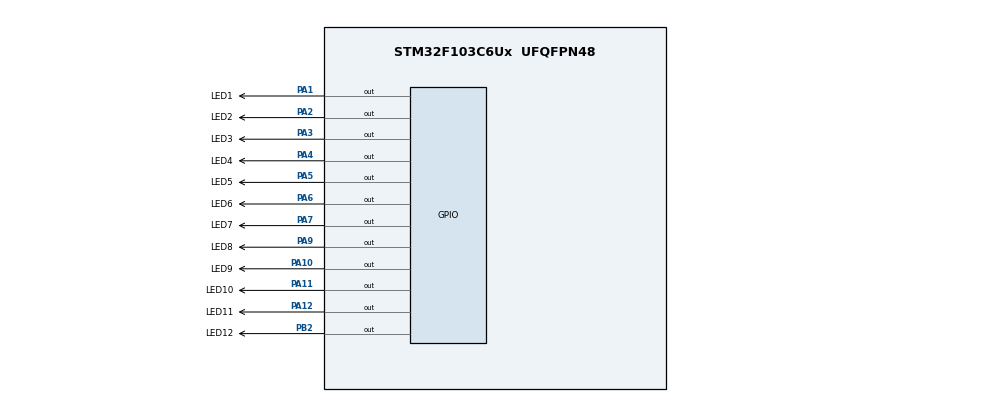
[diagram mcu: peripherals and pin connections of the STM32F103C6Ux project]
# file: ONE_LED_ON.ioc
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Mcu.Family=STM32F1
Mcu.Name=STM32F103C6Ux
Mcu.Package=UFQFPN48
NVIC.PriorityGroup=NVIC_PRIORITYGROUP_4
PA1.GPIO_Label=LED1
PA1.Signal=GPIO_Output
PA10.GPIO_Label=LED9
PA10.Signal=GPIO_Output
PA11.GPIO_Label=LED10
PA11.Signal=GPIO_Output
PA12.GPIO_Label=LED11
PA12.Signal=GPIO_Output
PA2.GPIO_Label=LED2
PA2.Signal=GPIO_Output
PA3.GPIO_Label=LED3
PA3.Signal=GPIO_Output
PA4.GPIO_Label=LED4
PA4.Signal=GPIO_Output
PA5.GPIO_Label=LED5
PA5.Signal=GPIO_Output
PA6.GPIO_Label=LED6
PA6.Signal=GPIO_Output
PA7.GPIO_Label=LED7
PA7.Signal=GPIO_Output
PA9.GPIO_Label=LED8
PA9.Signal=GPIO_Output
PB2.GPIO_Label=LED12
PB2.Signal=GPIO_Output
ProjectManager.HeapSize=0x200
ProjectManager.StackSize=0x400
ProjectManager.TargetToolchain=STM32CubeIDE
RCC.APB1Freq_Value=8000000
RCC.APB2Freq_Value=8000000
VP_SYS_VS_ND.Mode=No_Debug
board=custom

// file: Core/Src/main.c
/* USER CODE BEGIN Header */
/**
  ******************************************************************************
  * @file           : main.c
  * @brief          : Main program body
  ******************************************************************************
  * @attention
  *
  * <h2><center>&copy; Copyright (c) 2022 STMicroelectronics.
  * All rights reserved.</center></h2>
  *
  * This software component is licensed by ST under BSD 3-Clause license,
  * the "License"; You may not use this file except in compliance with the
  * License. You may obtain a copy of the License at:
  *                        opensource.org/licenses/BSD-3-Clause
  *
  ******************************************************************************
  */
/* USER CODE END Header */
#include "main.h"

void SystemClock_Config(void);
static void MX_GPIO_Init(void);

int main(void)
{

  /* MCU Configuration--------------------------------------------------------*/

  /* Reset of all peripherals, Initializes the Flash interface and the Systick. */
  HAL_Init();

  /* Configure the system clock */
  SystemClock_Config();

  /* Initialize all configured peripherals */
  MX_GPIO_Init();

  /* Infinite loop */
  /* USER CODE BEGIN WHILE */
  void setNumberOnClock(int num){
	  if(num == 0){
		  HAL_GPIO_WritePin(LED1_GPIO_Port, LED1_Pin, SET);
	  }
	  else if(num == 1){
		  HAL_GPIO_WritePin(LED2_GPIO_Port, LED2_Pin, SET);
	  }
	  else if(num == 2){
		  HAL_GPIO_WritePin(LED3_GPIO_Port, LED3_Pin, SET);
	  }
	  else if(num == 3){
		  HAL_GPIO_WritePin(LED4_GPIO_Port, LED4_Pin, SET);
	  }
	  else if(num == 4){
		  HAL_GPIO_WritePin(LED5_GPIO_Port, LED5_Pin, SET);
	  }
	  else if(num == 5){
		  HAL_GPIO_WritePin(LED6_GPIO_Port, LED6_Pin, SET);
	  }
	  else if(num == 6){
		  HAL_GPIO_WritePin(LED7_GPIO_Port, LED7_Pin, SET);
	  }
	  else if(num == 7){
		  HAL_GPIO_WritePin(LED8_GPIO_Port, LED8_Pin, SET);
	  }
	  else if(num == 8){
		  HAL_GPIO_WritePin(LED9_GPIO_Port, LED9_Pin, SET);
	  }
	  else if(num == 9){
		  HAL_GPIO_WritePin(LED10_GPIO_Port, LED10_Pin, SET);
	  }
	  else if(num == 10){
		  HAL_GPIO_WritePin(LED11_GPIO_Port, LED11_Pin, SET);
	  }
	  else if(num == 11){
		  HAL_GPIO_WritePin(LED12_GPIO_Port, LED12_Pin, SET);
	  }
  }
  int counter = 0;
  while (1)
  {
	  if( counter > 12) counter = 1;
	 	 setNumberOnClock(counter++);
	 	 HAL_Delay (1000) ;
    /* USER CODE END WHILE */

  }
}

void SystemClock_Config(void)
{
  RCC_OscInitTypeDef RCC_OscInitStruct = {0};
  RCC_ClkInitTypeDef RCC_ClkInitStruct = {0};

  /** Initializes the RCC Oscillators according to the specified parameters
  * in the RCC_OscInitTypeDef structure.
  */
  RCC_OscInitStruct.OscillatorType = RCC_OSCILLATORTYPE_HSI;
  RCC_OscInitStruct.HSIState = RCC_HSI_ON;
  RCC_OscInitStruct.HSICalibrationValue = RCC_HSICALIBRATION_DEFAULT;
  RCC_OscInitStruct.PLL.PLLState = RCC_PLL_NONE;
  if (HAL_RCC_OscConfig(&RCC_OscInitStruct) != HAL_OK)
  {
    Error_Handler();
  }
  /** Initializes the CPU, AHB and APB buses clocks
  */
  RCC_ClkInitStruct.ClockType = RCC_CLOCKTYPE_HCLK|RCC_CLOCKTYPE_SYSCLK
                              |RCC_CLOCKTYPE_PCLK1|RCC_CLOCKTYPE_PCLK2;
  RCC_ClkInitStruct.SYSCLKSource = RCC_SYSCLKSOURCE_HSI;
  RCC_ClkInitStruct.AHBCLKDivider = RCC_SYSCLK_DIV1;
  RCC_ClkInitStruct.APB1CLKDivider = RCC_HCLK_DIV1;
  RCC_ClkInitStruct.APB2CLKDivider = RCC_HCLK_DIV1;

  if (HAL_RCC_ClockConfig(&RCC_ClkInitStruct, FLASH_LATENCY_0) != HAL_OK)
  {
    Error_Handler();
  }
}

static void MX_GPIO_Init(void)
{
  GPIO_InitTypeDef GPIO_InitStruct = {0};

  /* GPIO Ports Clock Enable */
  __HAL_RCC_GPIOA_CLK_ENABLE();
  __HAL_RCC_GPIOB_CLK_ENABLE();

  /*Configure GPIO pin Output Level */
  HAL_GPIO_WritePin(GPIOA, LED1_Pin|LED2_Pin|LED3_Pin|LED4_Pin
                          |LED5_Pin|LED6_Pin|LED7_Pin|LED8_Pin
                          |LED9_Pin|LED10_Pin|LED11_Pin, GPIO_PIN_RESET);

  /*Configure GPIO pin Output Level */
  HAL_GPIO_WritePin(LED12_GPIO_Port, LED12_Pin, GPIO_PIN_RESET);

  /*Configure GPIO pins : LED1_Pin LED2_Pin LED3_Pin LED4_Pin
                           LED5_Pin LED6_Pin LED7_Pin LED8_Pin
                           LED9_Pin LED10_Pin LED11_Pin */
  GPIO_InitStruct.Pin = LED1_Pin|LED2_Pin|LED3_Pin|LED4_Pin
                          |LED5_Pin|LED6_Pin|LED7_Pin|LED8_Pin
                          |LED9_Pin|LED10_Pin|LED11_Pin;
  GPIO_InitStruct.Mode = GPIO_MODE_OUTPUT_PP;
  GPIO_InitStruct.Pull = GPIO_NOPULL;
  GPIO_InitStruct.Speed = GPIO_SPEED_FREQ_LOW;
  HAL_GPIO_Init(GPIOA, &GPIO_InitStruct);

  /*Configure GPIO pin : LED12_Pin */
  GPIO_InitStruct.Pin = LED12_Pin;
  GPIO_InitStruct.Mode = GPIO_MODE_OUTPUT_PP;
  GPIO_InitStruct.Pull = GPIO_NOPULL;
  GPIO_InitStruct.Speed = GPIO_SPEED_FREQ_LOW;
  HAL_GPIO_Init(LED12_GPIO_Port, &GPIO_InitStruct);

}

void Error_Handler(void)
{
  __disable_irq();
  while (1)
  {
  }
}

/************************ (C) COPYRIGHT STMicroelectronics *****END OF FILE****/
